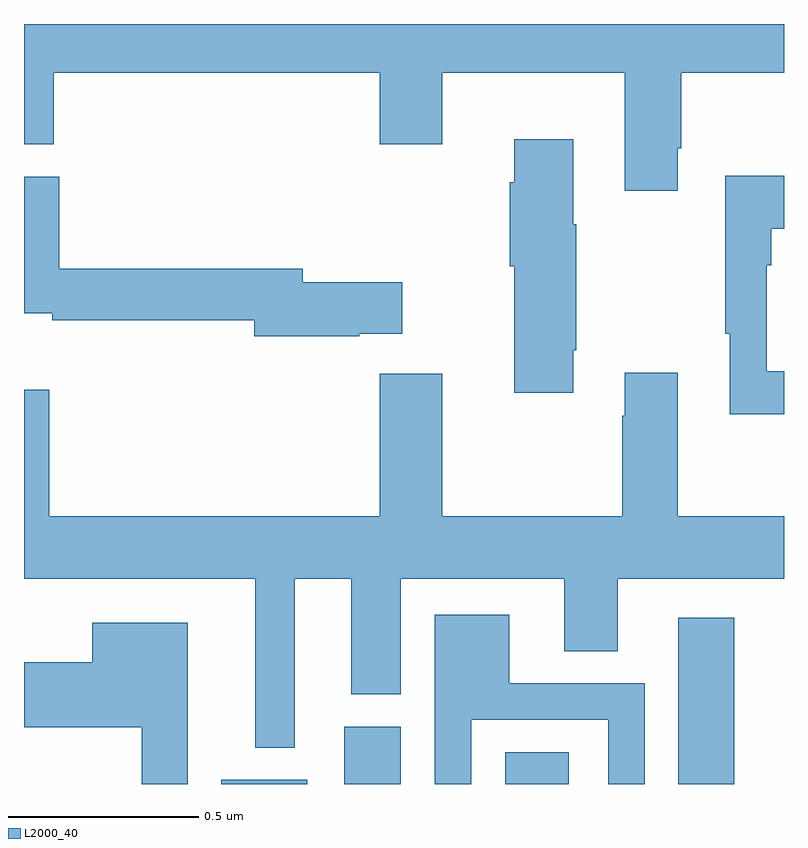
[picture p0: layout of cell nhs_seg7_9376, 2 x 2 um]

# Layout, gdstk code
import gdstk
lib = gdstk.Library(unit=1e-6, precision=1e-09)
def R(c, l, rs):  # rectangles x0, y0, x1, y1
    for r in rs: c.add(gdstk.rectangle(r[:2], r[2:], *l))
def P(c, l, *ps):  # polygons
    for p in ps: c.add(gdstk.Polygon(p, *l))
L2000_40 = (2000, 40)

nhs_seg7_9376 = lib.new_cell('nhs_seg7_9376')
R(nhs_seg7_9376, L2000_40, [(236.519,1076,236.746,1076.011), (236.843,1076,236.992,1076.151), (237.266,1076,237.433,1076.084), (237.722,1076,237.869,1076.437)])
P(nhs_seg7_9376, L2000_40, [(236,1077.683),(236.078,1077.683),(236.078,1077.872),(236.936,1077.872),(236.936,1077.684),(237.1,1077.684),(237.1,1077.872),(237.581,1077.872),(237.581,1077.561),(237.721,1077.561),(237.721,1077.673),(237.729,1077.673),(237.729,1077.872),(238,1077.872),(238,1078),(236,1078)],
  [(237.445,1077.142),(237.453,1077.142),(237.453,1077.473),(237.445,1077.473),(237.445,1077.697),(237.29,1077.697),(237.29,1077.584),(237.278,1077.584),(237.278,1077.363),(237.29,1077.363),(237.29,1077.03),(237.445,1077.03)],
  [(238,1077.086),(237.954,1077.086),(237.954,1077.365),(237.967,1077.365),(237.967,1077.461),(238,1077.461),(238,1077.601),(237.846,1077.601),(237.846,1077.185),(237.857,1077.185),(237.857,1076.973),(238,1076.973)],
  [(236.882,1077.185),(236.995,1077.185),(236.995,1077.32),(236.734,1077.32),(236.734,1077.356),(236.093,1077.356),(236.093,1077.598),(236,1077.598),(236,1077.239),(236.074,1077.239),(236.074,1077.22),(236.606,1077.22),(236.606,1077.178),(236.882,1077.178)],
  [(236.713,1076.54),(236.861,1076.54),(236.861,1076.236),(236.992,1076.236),(236.992,1076.54),(237.422,1076.54),(237.422,1076.35),(237.562,1076.35),(237.562,1076.54),(238,1076.54),(238,1076.704),(237.721,1076.704),(237.721,1077.082),(237.581,1077.082),(237.581,1076.969),(237.574,1076.969),(237.574,1076.704),(237.1,1076.704),(237.1,1077.079),(236.936,1077.079),(236.936,1076.704),(236.066,1076.704),(236.066,1077.037),(236,1077.037),(236,1076.54),(236.609,1076.54),(236.609,1076.096),(236.713,1076.096)],
  [(237.177,1076.169),(237.537,1076.169),(237.537,1076),(237.633,1076),(237.633,1076.265),(237.277,1076.265),(237.277,1076.446),(237.081,1076.446),(237.081,1076),(237.177,1076)],
  [(236.431,1076.425),(236.18,1076.425),(236.18,1076.32),(236,1076.32),(236,1076.15),(236.31,1076.15),(236.31,1076),(236.431,1076)])

lib.write_gds('nhs_seg7_9376.gds')
